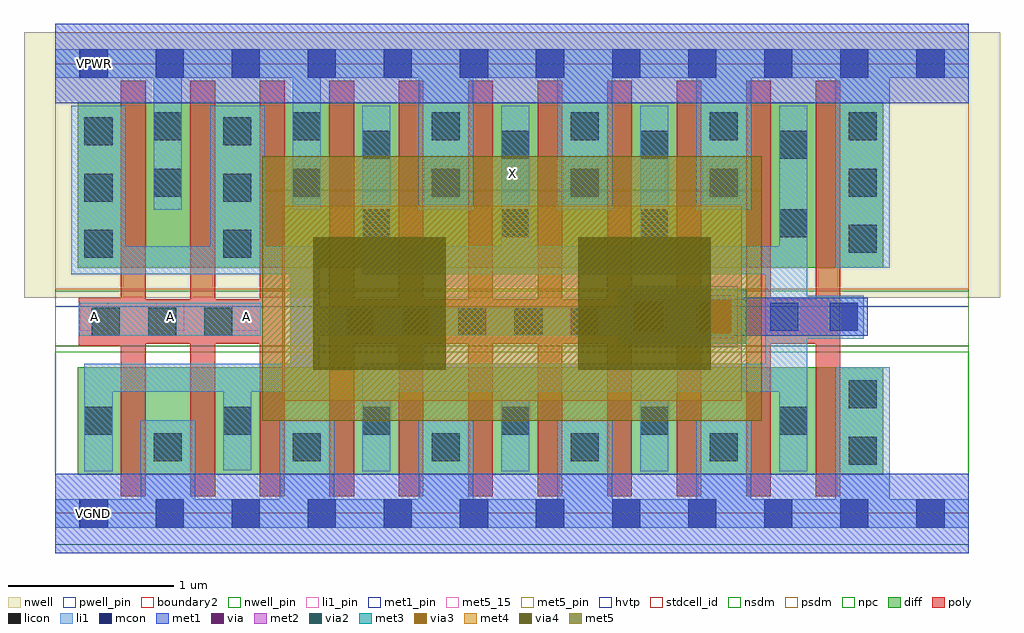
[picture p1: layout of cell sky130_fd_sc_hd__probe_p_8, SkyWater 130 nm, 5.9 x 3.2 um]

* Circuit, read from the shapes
.subckt sky130_fd_sc_hd__probe_p_8 A VGND VNB VPB VPWR X
XM1 VGND A n1 VNB sky130_fd_pr__nfet_01v8 w=0.65 l=0.15 m=3
XM2 X n1 VGND VNB sky130_fd_pr__nfet_01v8 w=0.65 l=0.15 m=8
XM3 VPWR A n1 VPB sky130_fd_pr__pfet_01v8_hvt w=1 l=0.15 m=3
XM4 X n1 VPWR VPB sky130_fd_pr__pfet_01v8_hvt w=1 l=0.15 m=8
.ends

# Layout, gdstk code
import gdstk
lib = gdstk.Library(unit=1e-6, precision=1e-09)
def R(c, l, rs):  # rectangles x0, y0, x1, y1
    for r in rs: c.add(gdstk.rectangle(r[:2], r[2:], *l))
def A(c, l, x, y, w, h, nx, ny, dx, dy):  # array of equal rectangles
    R(c, l, [(x+i*dx, y+j*dy, x+i*dx+w, y+j*dy+h) for i in range(nx) for j in range(ny)])
def P(c, l, *ps):  # polygons
    for p in ps: c.add(gdstk.Polygon(p, *l))
nwell_pin = (64, 16)
nwell = (64, 20)
diff = (65, 20)
poly = (66, 20)
licon = (66, 44)
li1_pin = (67, 16)
li1 = (67, 20)
mcon = (67, 44)
met1_pin = (68, 16)
met1 = (68, 20)
via = (68, 44)
met2 = (69, 20)
via2 = (69, 44)
met3 = (70, 20)
via3 = (70, 44)
met4 = (71, 20)
via4 = (71, 44)
met5_15 = (72, 15)
met5_pin = (72, 16)
met5 = (72, 20)
hvtp = (78, 44)
stdcell_id = (81, 4)
nsdm = (93, 44)
psdm = (94, 20)
npc = (95, 20)
pwell_pin = (122, 16)
boundary2 = (236, 0)

sky130_fd_sc_hd__probe_p = lib.new_cell('sky130_fd_sc_hd__probe_p_8')
R(sky130_fd_sc_hd__probe_p, nwell_pin, [(0.15,2.635,0.32,2.805)])
R(sky130_fd_sc_hd__probe_p, nwell, [(-0.19,1.305,5.71,2.91)])
R(sky130_fd_sc_hd__probe_p, diff, [(0.135,0.235,5.005,0.885), (0.135,1.485,5.005,2.485)])
P(sky130_fd_sc_hd__probe_p, poly, [(1.385,2.615),(1.235,2.615),(1.235,1.295),(0.965,1.295),(0.965,2.615),(0.815,2.615),(0.815,1.295),(0.545,1.295),(0.545,2.615),(0.395,2.615),(0.395,1.305),(0.14,1.305),(0.14,1.015),(0.395,1.015),(0.395,0.105),(0.545,0.105),(0.545,1.025),(0.815,1.025),(0.815,0.105),(0.965,0.105),(0.965,1.025),(1.235,1.025),(1.235,0.105),(1.385,0.105)],
  [(4.745,2.615),(4.595,2.615),(4.595,1.295),(4.325,1.295),(4.325,2.615),(4.175,2.615),(4.175,1.295),(3.905,1.295),(3.905,2.615),(3.755,2.615),(3.755,1.295),(3.485,1.295),(3.485,2.615),(3.335,2.615),(3.335,1.295),(3.065,1.295),(3.065,2.615),(2.915,2.615),(2.915,1.295),(2.645,1.295),(2.645,2.615),(2.495,2.615),(2.495,1.295),(2.225,1.295),(2.225,2.615),(2.075,2.615),(2.075,1.295),(1.805,1.295),(1.805,2.615),(1.655,2.615),(1.655,0.105),(1.805,0.105),(1.805,1.025),(2.075,1.025),(2.075,0.105),(2.225,0.105),(2.225,1.025),(2.495,1.025),(2.495,0.105),(2.645,0.105),(2.645,1.025),(2.915,1.025),(2.915,0.105),(3.065,0.105),(3.065,1.025),(3.335,1.025),(3.335,0.105),(3.485,0.105),(3.485,1.025),(3.755,1.025),(3.755,0.105),(3.905,0.105),(3.905,1.025),(4.175,1.025),(4.175,0.105),(4.325,0.105),(4.325,1.025),(4.595,1.025),(4.595,0.105),(4.745,0.105)])
A(sky130_fd_sc_hd__probe_p, licon, 0.595, 0.315, 0.17, 0.17, 5, 1, 0.84, 0)
A(sky130_fd_sc_hd__probe_p, licon, 0.175, 0.475, 0.17, 0.17, 6, 1, 0.84, 0)
A(sky130_fd_sc_hd__probe_p, licon, 0.22, 1.075, 0.17, 0.17, 3, 1, 0.34, 0)
A(sky130_fd_sc_hd__probe_p, licon, 1.755, 1.075, 0.17, 0.17, 7, 1, 0.34, 0)
A(sky130_fd_sc_hd__probe_p, licon, 0.175, 1.545, 0.17, 0.17, 1, 3, 0, 0.34)
A(sky130_fd_sc_hd__probe_p, licon, 1.015, 1.545, 0.17, 0.17, 1, 3, 0, 0.34)
A(sky130_fd_sc_hd__probe_p, licon, 1.855, 1.67, 0.17, 0.17, 4, 2, 0.84, 0.475)
A(sky130_fd_sc_hd__probe_p, licon, 0.595, 1.915, 0.17, 0.17, 6, 2, 0.84, 0.34)
R(sky130_fd_sc_hd__probe_p, licon, [(4.795,0.295,4.965,0.465), (4.795,0.635,4.965,0.805), (4.795,1.575,4.965,1.745)])
A(sky130_fd_sc_hd__probe_p, li1_pin, 0.15, 1.105, 0.17, 0.17, 3, 1, 0.46, 0)
R(sky130_fd_sc_hd__probe_p, li1_pin, [(0.15,-0.085,0.32,0.085), (0.15,2.635,0.32,2.805)])
R(sky130_fd_sc_hd__probe_p, li1, [(0.14,1.075,1.24,1.275)])
P(sky130_fd_sc_hd__probe_p, li1, [(4.045,1.245),(1.595,1.245),(1.595,1.615),(1.265,1.615),(1.265,2.465),(0.935,2.465),(0.935,1.615),(0.425,1.615),(0.425,2.465),(0.095,2.465),(0.095,1.445),(1.42,1.445),(1.42,0.905),(0.175,0.905),(0.175,0.255),(0.345,0.255),(0.345,0.735),(1.015,0.735),(1.015,0.26),(1.185,0.26),(1.185,0.735),(1.595,0.735),(1.595,1.075),(4.045,1.075)],
  [(4.885,1.315),(4.545,1.315),(4.545,2.465),(4.375,2.465),(4.375,1.615),(3.705,1.615),(3.705,2.465),(3.535,2.465),(3.535,1.615),(2.865,1.615),(2.865,2.465),(2.695,2.465),(2.695,1.615),(2.025,1.615),(2.025,2.465),(1.855,2.465),(1.855,1.445),(4.29,1.445),(4.29,0.905),(1.855,0.905),(1.855,0.255),(2.025,0.255),(2.025,0.735),(2.695,0.735),(2.695,0.255),(2.865,0.255),(2.865,0.735),(3.535,0.735),(3.535,0.255),(3.705,0.255),(3.705,0.735),(4.375,0.735),(4.375,0.255),(4.545,0.255),(4.545,1.055),(4.885,1.055)],
  [(5.52,2.805),(0,2.805),(0,2.635),(0.595,2.635),(0.595,1.835),(0.765,1.835),(0.765,2.635),(1.435,2.635),(1.435,1.835),(1.605,1.835),(1.605,2.635),(2.195,2.635),(2.195,1.835),(2.525,1.835),(2.525,2.635),(3.035,2.635),(3.035,1.835),(3.365,1.835),(3.365,2.635),(3.875,2.635),(3.875,1.835),(4.205,1.835),(4.205,2.635),(4.715,2.635),(4.715,1.485),(5.045,1.485),(5.045,2.635),(5.52,2.635)],
  [(5.52,0.085),(5.045,0.085),(5.045,0.885),(4.715,0.885),(4.715,0.085),(4.205,0.085),(4.205,0.565),(3.875,0.565),(3.875,0.085),(3.365,0.085),(3.365,0.565),(3.035,0.565),(3.035,0.085),(2.525,0.085),(2.525,0.565),(2.195,0.565),(2.195,0.085),(1.685,0.085),(1.685,0.565),(1.355,0.565),(1.355,0.085),(0.845,0.085),(0.845,0.565),(0.515,0.565),(0.515,0.085),(0,0.085),(0,-0.085),(5.52,-0.085)])
A(sky130_fd_sc_hd__probe_p, mcon, 0.145, -0.085, 0.17, 0.17, 12, 2, 0.46, 2.72)
R(sky130_fd_sc_hd__probe_p, mcon, [(4.32,1.105,4.49,1.275), (4.68,1.105,4.85,1.275)])
R(sky130_fd_sc_hd__probe_p, met1_pin, [(0.15,-0.085,0.32,0.085), (0.15,2.635,0.32,2.805)])
R(sky130_fd_sc_hd__probe_p, met1, [(4.105,1.075,4.91,1.305)])
R(sky130_fd_sc_hd__probe_p, via, [(3.55,1.115,3.7,1.265), (3.87,1.115,4.02,1.265)])
R(sky130_fd_sc_hd__probe_p, via2, [(3.485,1.09,3.685,1.29), (3.885,1.09,4.085,1.29)])
R(sky130_fd_sc_hd__probe_p, met3, [(3.395,1.025,3.42,1.355), (4.15,1.025,4.175,1.355)])
R(sky130_fd_sc_hd__probe_p, via3, [(3.485,1.09,3.685,1.29), (3.885,1.09,4.085,1.29)])
R(sky130_fd_sc_hd__probe_p, via4, [(1.56,0.87,2.36,1.67), (3.16,0.87,3.96,1.67)])
R(sky130_fd_sc_hd__probe_p, met5_15, [(1.25,1.945,4.27,1.95)])
R(sky130_fd_sc_hd__probe_p, met5_pin, [(1.25,1.955,4.27,2.16)])
R(sky130_fd_sc_hd__probe_p, met5, [(1.25,0.56,4.27,2.16)])
R(sky130_fd_sc_hd__probe_p, hvtp, [(0,1.25,5.52,2.72)])
R(sky130_fd_sc_hd__probe_p, stdcell_id, [(0,0,5.52,2.72)])
R(sky130_fd_sc_hd__probe_p, nsdm, [(0,-0.19,5.52,1.015)])
R(sky130_fd_sc_hd__probe_p, psdm, [(0,1.355,5.52,2.91)])
R(sky130_fd_sc_hd__probe_p, npc, [(0,0.975,5.52,1.345)])
R(sky130_fd_sc_hd__probe_p, pwell_pin, [(0.15,-0.085,0.32,0.085)])
R(sky130_fd_sc_hd__probe_p, boundary2, [(0,0,5.52,2.72)])
sky130_fd_sc_hd__probe_p.add(gdstk.FlexPath([(4.27,1.27),(1.25,1.27)], 1.42, ends="flush", simple_path=True, layer=72, datatype=20))  # met5
sky130_fd_sc_hd__probe_p.add(gdstk.FlexPath([(4.15,1.27),(1.37,1.27)], 1.18, ends="flush", simple_path=True, layer=71, datatype=20))  # met4
sky130_fd_sc_hd__probe_p.add(gdstk.FlexPath([(3.42,1.19),(4.15,1.19)], 0.33, ends="flush", simple_path=True, layer=71, datatype=20))  # met4
sky130_fd_sc_hd__probe_p.add(gdstk.FlexPath([(3.395,1.19),(4.175,1.19)], 0.32, ends="flush", simple_path=True, layer=70, datatype=20))  # met3
sky130_fd_sc_hd__probe_p.add(gdstk.FlexPath([(3.42,1.19),(4.15,1.19)], 0.33, ends="flush", simple_path=True, layer=70, datatype=20))  # met3
sky130_fd_sc_hd__probe_p.add(gdstk.FlexPath([(3.445,1.19),(4.125,1.19)], 0.37, ends="flush", simple_path=True, layer=69, datatype=20))  # met2
sky130_fd_sc_hd__probe_p.add(gdstk.FlexPath([(3.465,1.19),(4.105,1.19)], 0.26, ends="flush", simple_path=True, layer=69, datatype=20))  # met2
sky130_fd_sc_hd__probe_p.add(gdstk.FlexPath([(0,2.72),(5.52,2.72)], 0.48, ends="flush", simple_path=True, layer=68, datatype=20))  # met1
sky130_fd_sc_hd__probe_p.add(gdstk.FlexPath([(0,0),(5.52,0)], 0.48, ends="flush", simple_path=True, layer=68, datatype=20))  # met1
sky130_fd_sc_hd__probe_p.add(gdstk.FlexPath([(3.465,1.19),(4.105,1.19)], 0.26, ends="flush", simple_path=True, layer=68, datatype=20))  # met1
sky130_fd_sc_hd__probe_p.add(gdstk.Label('X', (2.76,2.055), layer=72, texttype=5))
sky130_fd_sc_hd__probe_p.add(gdstk.Label('A', (1.155,1.19), layer=67, texttype=5))
sky130_fd_sc_hd__probe_p.add(gdstk.Label('A', (0.695,1.19), layer=67, texttype=5))
sky130_fd_sc_hd__probe_p.add(gdstk.Label('VGND', (0.23,0), layer=67, texttype=5))
sky130_fd_sc_hd__probe_p.add(gdstk.Label('VPWR', (0.235,2.72), layer=67, texttype=5))
sky130_fd_sc_hd__probe_p.add(gdstk.Label('A', (0.235,1.19), layer=67, texttype=5))
sky130_fd_sc_hd__probe_p.add(gdstk.Label('VPB', (0.235,2.72), layer=64, texttype=5))
sky130_fd_sc_hd__probe_p.add(gdstk.Label('VNB', (0.235,0), layer=64, texttype=59))
sky130_fd_sc_hd__probe_p.add(gdstk.Label('VGND', (0.23,0), layer=68, texttype=5))
sky130_fd_sc_hd__probe_p.add(gdstk.Label('VPWR', (0.235,2.72), layer=68, texttype=5))
sky130_fd_sc_hd__probe_p.add(gdstk.Label('probe_p_8', (0,0), layer=83, texttype=44))

lib.write_gds('sky130_fd_sc_hd__probe_p_8.gds')
